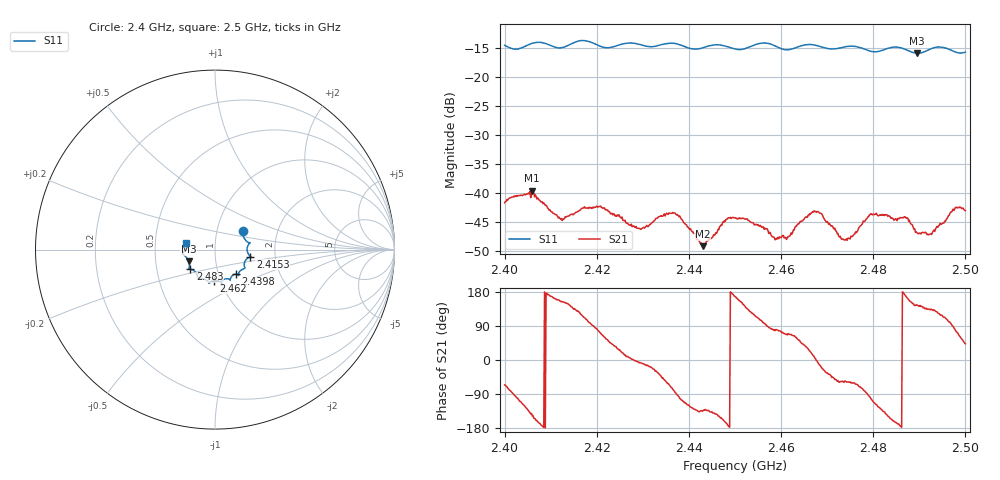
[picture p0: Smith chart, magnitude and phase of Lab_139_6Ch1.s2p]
# Hz S RI R 50
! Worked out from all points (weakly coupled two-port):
!   601 points, 2.4 GHz to 2.5 GHz, reference 50 ohm
!   highest |S21| = -39.58 dB at 2.406 GHz (marker M1); lowest = -49.1 dB at 2.443 GHz (marker M2)
!   lowest |S11| = -15.9 dB at 2.4895 GHz (marker M3), VSWR 1.38, Z = 37 - j4.99 ohm
!   |S11| at or under -10 dB: start of sweep to end of sweep
!   S12 and S22 are empty: the file has one direction only
!   S11 on the Smith chart (normalised r, x): 2.4 GHz: 1.33, +0.29; 2.4153 GHz: 1.48, -0.12; 2.4398 GHz: 1.21, -0.34; 2.462 GHz: 0.93, -0.33; 2.483 GHz: 0.74, -0.17; 2.5 GHz: 0.72, +0.06
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2.4e9  0.1553 0.1063  0.0034 -0.00753  0 0  0 0
2.406e9  0.1917 0.0377  -0.00882 -0.00569  0 0  0 0
2.412e9  0.1788 -0.000395  -0.00551 0.0025  0 0  0 0
2.415333e9  0.1967 -0.0388  -0.00469 0.00489  0 0  0 0
2.416667e9  0.2023 -0.0428  -0.00358 0.00641  0 0  0 0
2.421167e9  0.1737 -0.0556  0.00302 0.00688  0 0  0 0
2.429167e9  0.1603 -0.1059  0.00492 -0.00061  0 0  0 0
2.433333e9  0.1313 -0.1336  0.00516 -0.00349  0 0  0 0
2.437e9  0.1319 -0.1437  0.000525 -0.00671  0 0  0 0
2.439833e9  0.1152 -0.1366  -0.00245 -0.00446  0 0  0 0
2.443e9  0.0891 -0.1552  -0.00246 -0.00247  0 0  0 0
2.45e9  0.0648 -0.1626  -0.006 0.00134  0 0  0 0
2.458667e9  0.0332 -0.1832  0.000868 0.00387  0 0  0 0
2.462e9  -0.00518 -0.1732  0.00168 0.00399  0 0  0 0
2.466667e9  -0.0342 -0.1876  0.00648 0.00198  0 0  0 0
2.473833e9  -0.0867 -0.1607  0.00224 -0.00323  0 0  0 0
2.479333e9  -0.1051 -0.1304  -0.000971 -0.00645  0 0  0 0
2.483e9  -0.1378 -0.1095  -0.00533 -0.00372  0 0  0 0
2.483333e9  -0.1403 -0.1093  -0.0055 -0.00326  0 0  0 0
2.487e9  -0.1433 -0.097  -0.00611 0.00106  0 0  0 0
2.4895e9  -0.1463 -0.0658  -0.00369 0.00264  0 0  0 0
2.5e9  -0.1597 0.0394  0.0052 0.00478  0 0  0 0
